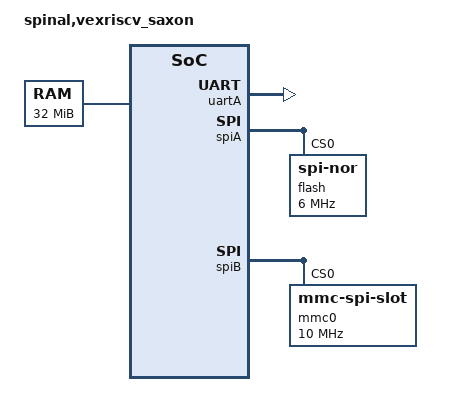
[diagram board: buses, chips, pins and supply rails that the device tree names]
/dts-v1/;

#include <config.h>
/include/ "sapphire.dtsi"

#define CLK_FREQ 80000000

/ {
	compatible = "spinal,vexriscv";
	model = "spinal,vexriscv_saxon";

	aliases {
                serial0 = &uartA;
                spi0 = &spiA;
                spi1 = &spiB;
        };

	chosen {
		bootargs = "console=ttyS0,115200n8";
		stdout-path = "serial0:115200n8";
	};

	cpus {
		timebase-frequency = <CLK_FREQ>;
	};

	memory {
		device_type = "memory";
		reg = <0x00001000 0x02000000>;
  	};
};

&uartA {
	status = "okay";
	device_type = "serial";
	compatible = "riscv_sbi,uart";
};

&spiA {
	status = "okay";
	compatible = "vexriscv,spi";
	flash: flash@0 {
		#address-cells = <1>;
		#size-cells = <0>;
		compatible = "jedec,spi-nor";
		reg = <0>;
		spi-max-frequency = <6000000>;
        };
};

&spiB {
	status = "okay";
	compatible = "vexriscv,spi";
	mmc0: mmc@0 {
		compatible = "mmc-spi-slot";
		reg = <0>;
		spi-max-frequency = <10000000>;
	};
};
